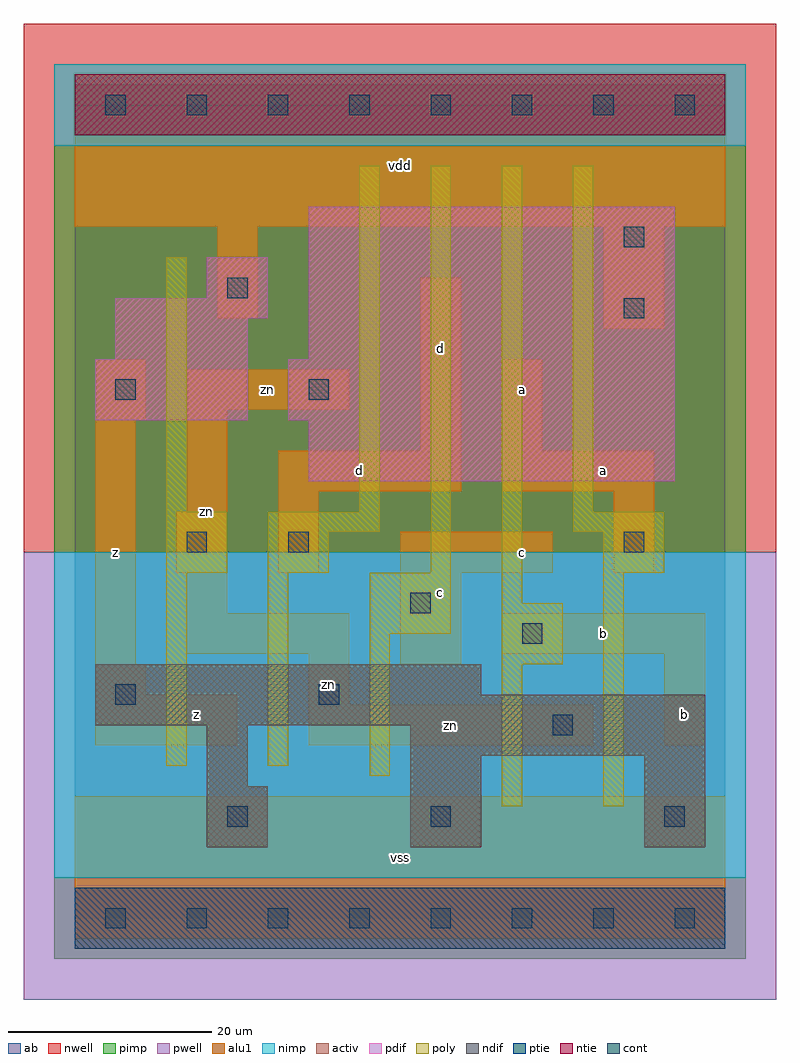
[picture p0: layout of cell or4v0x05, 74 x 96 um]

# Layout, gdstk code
import gdstk
lib = gdstk.Library(unit=1e-6, precision=1e-09)
def R(c, l, rs):  # rectangles x0, y0, x1, y1
    for r in rs: c.add(gdstk.rectangle(r[:2], r[2:], *l))
def A(c, l, x, y, w, h, nx, ny, dx, dy):  # array of equal rectangles
    R(c, l, [(x+i*dx, y+j*dy, x+i*dx+w, y+j*dy+h) for i in range(nx) for j in range(ny)])
ndif = (3, 0)
pdif = (4, 0)
ntie = (5, 0)
ptie = (6, 0)
cont = (25, 0)
pwell = (41, 0)
nwell = (42, 0)
activ = (43, 0)
pimp = (44, 0)
nimp = (45, 0)
poly = (46, 0)
alu1 = (49, 0)
ab = (63, 0)

or4v0x05 = lib.new_cell('or4v0x05')
R(or4v0x05, ndif, [(13,7,19,13), (33,7,40,16), (56,7,62,16), (13,13,17,19), (33,16,62,19), (2,19,62,22), (2,22,40,25)])
R(or4v0x05, pdif, [(23,43,59,49), (2,49,17,55), (21,49,59,55), (4,55,17,59), (23,55,59,70), (4,59,19,61), (13,61,19,65)])
R(or4v0x05, ntie, [(0,77,64,83)])
R(or4v0x05, ptie, [(0,-3,64,3)])
A(or4v0x05, cont, 3, -1, 2, 2, 8, 2, 8, 80)
R(or4v0x05, cont, [(15,9,17,11), (35,9,37,11), (58,9,60,11), (47,18,49,20), (4,21,6,23), (24,21,26,23), (44,27,46,29), (33,30,35,32), (11,36,13,38), (21,36,23,38), (54,36,56,38), (4,51,6,53), (23,51,25,53), (54,59,56,61), (15,61,17,63), (54,66,56,68)])
R(or4v0x05, pwell, [(-5,-8,69,36)])
R(or4v0x05, nwell, [(-5,36,69,88)])
R(or4v0x05, activ, [(0,-3,64,3), (13,7,19,13), (33,7,40,16), (56,7,62,16), (13,13,17,19), (33,16,62,19), (2,19,62,22), (2,22,40,25), (23,43,59,49), (2,49,17,55), (21,49,59,55), (4,55,17,59), (23,55,59,70), (4,59,19,61), (13,61,19,65), (0,77,64,83)])
R(or4v0x05, pimp, [(-2,-4,66,4), (-2,36,66,76)])
R(or4v0x05, nimp, [(-2,4,66,36), (-2,76,66,84)])
R(or4v0x05, poly, [(42,11,44,25), (52,11,54,34), (29,14,31,28), (9,15,11,34), (19,15,21,34), (42,25,48,31), (29,28,37,34), (42,31,44,74), (9,34,15,40), (19,34,25,38), (35,34,37,74), (52,34,58,38), (19,38,30,40), (49,38,58,40), (9,40,11,65), (28,40,30,74), (49,40,51,74)])
R(or4v0x05, alu1, [(0,-2,64,12), (2,17,16,22), (23,17,51,21), (58,17,62,26), (23,21,27,26), (2,22,7,25), (2,25,6,49), (32,25,38,34), (11,26,27,30), (42,26,62,30), (11,30,15,34), (10,34,15,40), (20,34,24,42), (32,34,47,38), (53,34,57,42), (11,40,15,50), (20,42,38,46), (42,42,57,46), (34,46,38,63), (42,46,46,55), (2,49,7,55), (11,50,27,54), (52,58,58,68), (14,59,18,68), (0,68,64,82)])
R(or4v0x05, ab, [(0,0,64,80)])
or4v0x05.add(gdstk.Label('zn', (13,40), layer=49, texttype=0))
or4v0x05.add(gdstk.Label('zn', (25,23), layer=49, texttype=0))
or4v0x05.add(gdstk.Label('zn', (19,52), layer=49, texttype=0))
or4v0x05.add(gdstk.Label('zn', (37,19), layer=49, texttype=0))
or4v0x05.add(gdstk.Label('z', (12,20), layer=49, texttype=0))
or4v0x05.add(gdstk.Label('z', (4,36), layer=49, texttype=0))
or4v0x05.add(gdstk.Label('d', (28,44), layer=49, texttype=0))
or4v0x05.add(gdstk.Label('vss', (32,6), layer=49, texttype=0))
or4v0x05.add(gdstk.Label('c', (36,32), layer=49, texttype=0))
or4v0x05.add(gdstk.Label('c', (44,36), layer=49, texttype=0))
or4v0x05.add(gdstk.Label('d', (36,56), layer=49, texttype=0))
or4v0x05.add(gdstk.Label('a', (44,52), layer=49, texttype=0))
or4v0x05.add(gdstk.Label('vdd', (32,74), layer=49, texttype=0))
or4v0x05.add(gdstk.Label('b', (60,20), layer=49, texttype=0))
or4v0x05.add(gdstk.Label('b', (52,28), layer=49, texttype=0))
or4v0x05.add(gdstk.Label('a', (52,44), layer=49, texttype=0))

lib.write_gds('or4v0x05.gds')
